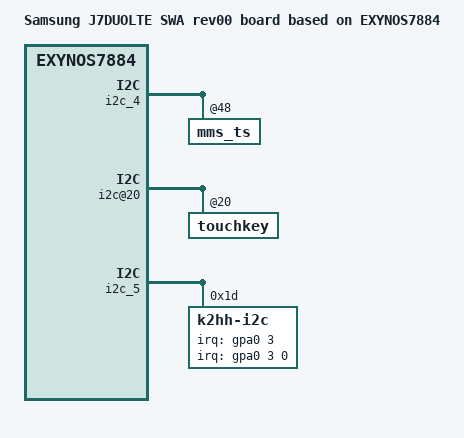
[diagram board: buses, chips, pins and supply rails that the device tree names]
/*
 * SAMSUNG UNIVERSAL7885 board device tree source
 *
 * Copyright (c) 2013 Samsung Electronics Co., Ltd.
 *		http://www.samsung.com
 *
 * This program is free software; you can redistribute it and/or modify
 * it under the terms of the GNU General Public License version 2 as
 * published by the Free Software Foundation.
 */

/dts-v1/;
#include "exynos7884-j7duolte_common.dtsi"
#include "exynos7884-j7duolte_swa_gpio_00.dtsi"
#include "exynos7884-j7duolte_fingerprint-sensor_00.dtsi"

/ {
	model = "Samsung J7DUOLTE SWA rev00 board based on EXYNOS7884";
	model_info-chip = <7885>;
	model_info-platform = "android";
	model_info-subtype = "samsung";
	model_info-hw_rev = <0>;
	model_info-hw_rev_end = <0>;
	compatible = "samsung, J7DUOLTE SWA rev00", "samsung,Universal7884";

	i2c_4: i2c@13870000 {
		mms_ts@48 {
			melfas,fw-skip = <1>;
		};
	};

	i2c@20 {
		touchkey@20 {
			coreriver,bringup = <1>;
		};
	};

 	i2c_5: i2c@13880000 {
		status = "okay";
		#address-cells = <1>;
		#size-cells = <0>;
		pinctrl-names = "default";
		pinctrl-0 = <&sensor_en &i2c5_bus>;

		k2hh-i2c@1D {
			compatible = "k2hh-i2c";
			reg = <0x1D>;
			pinctrl-names = "default";
			pinctrl-0 = <&acc_int>;
			interrupt-parent = <&gpa0>;
			interrupts = <3 0 0>;
			k2hh,irq_gpio = <&gpa0 3 0>;
			k2hh,axis_map_x = <1>;
			k2hh,axis_map_y = <0>;
			k2hh,axis_map_z = <2>;
			k2hh,negate_x = <1>;
			k2hh,negate_y = <0>;
			k2hh,negate_z = <1>;
			k2hh,poll_interval = <100>;
			k2hh,min_interval = <2>;
		};


	};
};

